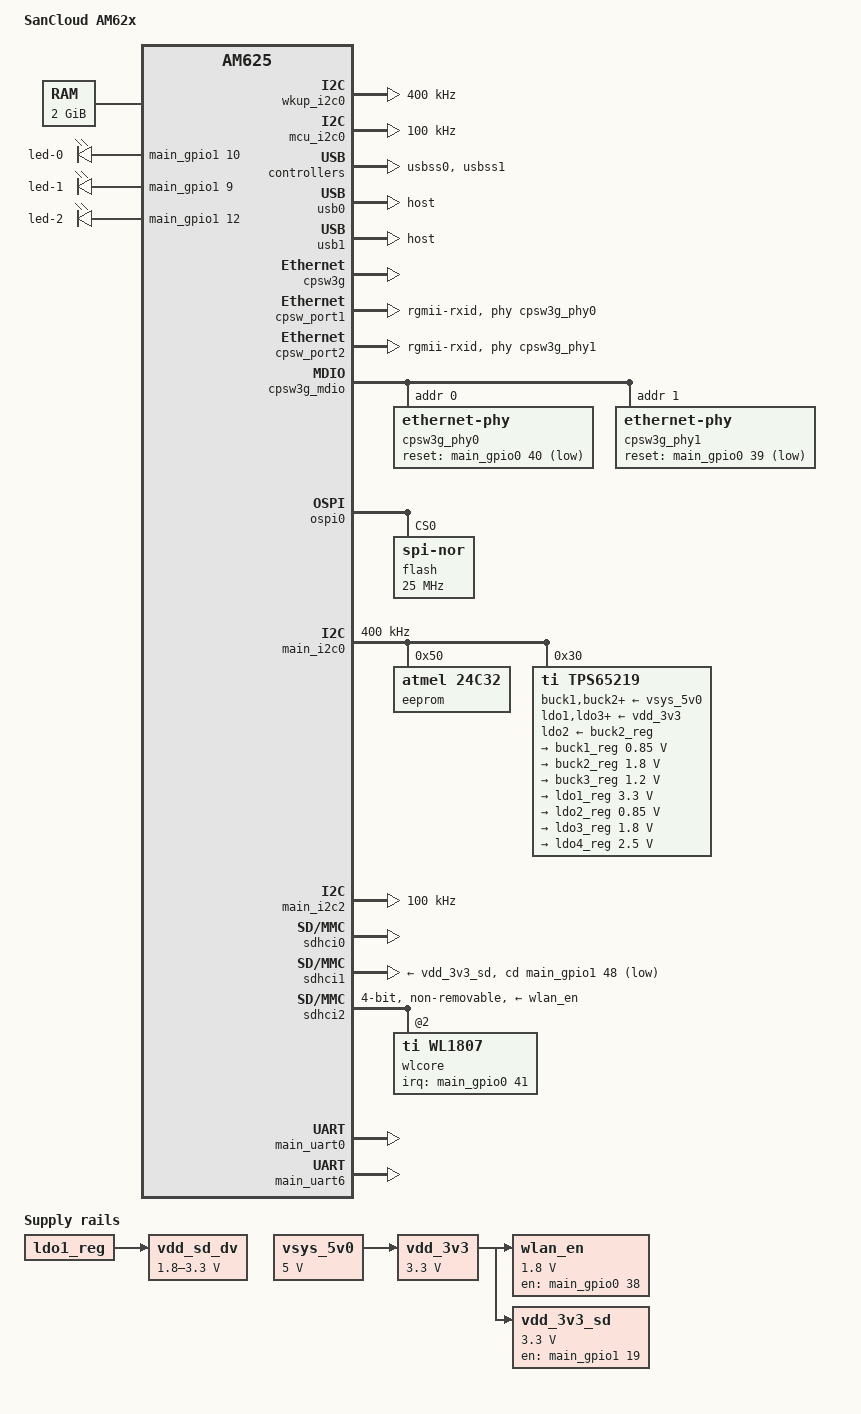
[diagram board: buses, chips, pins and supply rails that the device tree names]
// SPDX-License-Identifier: GPL-2.0
/*
 * https://sancloud.com/
 *
 * Copyright (C) 2022-2023 Texas Instruments Incorporated - https://www.ti.com/
 * Copyright (C) 2023-2024 Marc Murphy, SanCloud
 */

/dts-v1/;

#include <dt-bindings/leds/common.h>
#include <dt-bindings/gpio/gpio.h>
#include <dt-bindings/input/input.h>
#include <dt-bindings/net/ti-dp83867.h>
#include "k3-am625.dtsi"

/ {
	compatible =  "sancloud,am625", "ti,am625";
	model = "SanCloud AM62x";

	aliases {
		serial0 = &wkup_uart0;
		serial1 = &mcu_uart0;
		serial2 = &main_uart0;
		serial3 = &main_uart1;
		serial4 = &main_uart6;
		mmc0 = &sdhci0;
		mmc1 = &sdhci1;
		mmc2 = &sdhci2;
		usb0 = &usb0;
		usb1 = &usb1;
		i2c0 = &main_i2c0;
		i2c1 = &main_i2c1;
		i2c2 = &main_i2c2;
		i2c3 = &main_i2c3;
		i2c4 = &wkup_i2c0;
		i2c5 = &mcu_i2c0;
		//rtc0 = &rtc;
		ethernet0 = &cpsw_port1;
		ethernet1 = &cpsw_port2;
		//gpio0 = &main_gpio0;
		gpio1 = &main_gpio1;
		//gpio2 = &mcu_gpio2;
	};

	chosen {
		stdout-path = "serial2:115200n8";
	};

	memory@80000000 {
		device_type = "memory";
		/* 2G RAM */
		reg = <0x00000000 0x80000000 0x00000000 0x80000000>;
	};

	reserved-memory {
		#address-cells = <2>;
		#size-cells = <2>;
		ranges;

		rtos_ipc_memory_region: ipc-memories@9c800000 {
			compatible = "shared-dma-pool";
			reg = <0x00 0x9c800000 0x00 0x00300000>;
			no-map;
		};

		mcu_m4fss_dma_memory_region: m4f-dma-memory@9cb00000 {
			compatible = "shared-dma-pool";
			reg = <0x00 0x9cb00000 0x00 0x100000>;
			no-map;
		};

		mcu_m4fss_memory_region: m4f-memory@9cc00000 {
			compatible = "shared-dma-pool";
			reg = <0x00 0x9cc00000 0x00 0xd00000>;
			no-map;
		};

		wkup_r5fss0_core0_dma_memory_region: r5f-dma-memory@9d900000 {
			compatible = "shared-dma-pool";
			reg = <0x00 0x9d900000 0x00 0x00100000>;
			no-map;
		};

		wkup_r5fss0_core0_memory_region: r5f-memory@9da00000 {
			compatible = "shared-dma-pool";
			reg = <0x00 0x9da00000 0x00 0x00d00000>;
			no-map;
		};

		lpm_ctx_ddr: lpm-memory@9e700000 {
			reg = <0x00 0x9e700000 0x00 0x80000>;
			alignment = <0x1000>;
		};

		secure_tfa_ddr: tfa@9e780000 {
			reg = <0x00 0x9e780000 0x00 0x80000>;
			alignment = <0x1000>;
			no-map;
		};

		secure_ddr: optee@9e800000 {
			reg = <0x00 0x9e800000 0x00 0x01800000>; /* for OP-TEE */
			alignment = <0x1000>;
			no-map;
		};
	};

	vsys_5v0: regulator-1 {
		compatible = "regulator-fixed";
		regulator-name = "vsys_5v0";
		regulator-min-microvolt = <5000000>;
		regulator-max-microvolt = <5000000>;
		regulator-always-on;
		regulator-boot-on;
	};

	vdd_3v3: regulator-2 {
		/* output of TLV62595DMQR-U12 */
		compatible = "regulator-fixed";
		regulator-name = "vdd_3v3";
		regulator-min-microvolt = <3300000>;
		regulator-max-microvolt = <3300000>;
		vin-supply = <&vsys_5v0>;
		regulator-always-on;
		regulator-boot-on;
	};

	wlan_en: regulator-3 {
		/* OUTPUT of SN74AVC2T244DQMR */
		compatible = "regulator-fixed";
		regulator-name = "wlan_en";
		regulator-min-microvolt = <1800000>;
		regulator-max-microvolt = <1800000>;
		enable-active-high;
		regulator-always-on;
		vin-supply = <&vdd_3v3>;
		gpios = <&main_gpio0 38 GPIO_ACTIVE_HIGH>;
		pinctrl-names = "default";
		pinctrl-0 = <&wifi_en_pins_default>;
	};

	vdd_3v3_sd: regulator-4 {
		/* output of TPS22918DBVR-U21 */
		pinctrl-names = "default";
		pinctrl-0 = <&vdd_3v3_sd_pins_default>;

		compatible = "regulator-fixed";
		regulator-name = "vdd_3v3_sd";
		regulator-min-microvolt = <3300000>;
		regulator-max-microvolt = <3300000>;
		enable-active-high;
		regulator-always-on;
		vin-supply = <&vdd_3v3>;
		gpios = <&main_gpio1 19 GPIO_ACTIVE_HIGH>;
	};

	vdd_sd_dv: regulator-5 {
		compatible = "regulator-gpio";
		regulator-name = "sd_hs200_switch";
		pinctrl-names = "default";
		pinctrl-0 = <&vdd_sd_dv_pins_default>;
		regulator-min-microvolt = <1800000>;
		regulator-max-microvolt = <3300000>;
		regulator-boot-on;
		vin-supply = <&ldo1_reg>;
		gpios = <&main_gpio1 49 GPIO_ACTIVE_HIGH>;
		states = <1800000 0x0>,
			 <3300000 0x1>;
	};

	leds {
		compatible = "gpio-leds";

		led-0 {
			gpios = <&main_gpio1 10 GPIO_ACTIVE_HIGH>;
			linux,default-trigger = "heartbeat";
			function = LED_FUNCTION_HEARTBEAT;
			default-state = "off";
		};

		led-1 {
			gpios = <&main_gpio1 9 GPIO_ACTIVE_HIGH>;
			linux,default-trigger = "disk-activity";
			function = LED_FUNCTION_DISK_ACTIVITY;
			default-state = "keep";
		};

		led-2 {
			gpios = <&main_gpio1 12 GPIO_ACTIVE_HIGH>;
			function = LED_FUNCTION_CPU;
		};
	};

};

&main_pmx0 {


	gpio0_pins_default: gpio0-pins-default {
		pinctrl-single,pins = <
			AM62X_IOPAD(0x0004, PIN_INPUT, 7) /* (G25) OSPI0_LBCLKO.GPIO0_1 */
			AM62X_IOPAD(0x0008, PIN_INPUT, 7) /* (J24) OSPI0_DQS.GPIO0_2 */
			AM62X_IOPAD(0x000c, PIN_INPUT, 7) /* (E25) OSPI0_D0.GPIO0_3 */
			AM62X_IOPAD(0x0010, PIN_INPUT, 7) /* (G24) OSPI0_D1.GPIO0_4 */
			AM62X_IOPAD(0x0014, PIN_INPUT, 7) /* (F25) OSPI0_D2.GPIO0_5 */
			AM62X_IOPAD(0x0018, PIN_INPUT, 7) /* (F24) OSPI0_D3.GPIO0_6 */
			AM62X_IOPAD(0x0024, PIN_INPUT, 7) /* (H25) OSPI0_D6.GPIO0_9 */
			AM62X_IOPAD(0x0028, PIN_INPUT, 7) /* (J22) OSPI0_D7.GPIO0_10 */
			AM62X_IOPAD(0x002c, PIN_INPUT, 7) /* (F23) OSPI0_CSn0.GPIO0_11 */
			AM62X_IOPAD(0x0030, PIN_INPUT, 7) /* (G21) OSPI0_CSn1.GPIO0_12 */
			AM62X_IOPAD(0x0034, PIN_INPUT, 7) /* (H21) OSPI0_CSn2.GPIO0_13 */
			AM62X_IOPAD(0x0038, PIN_INPUT, 7) /* (E24) OSPI0_CSn3.GPIO0_14 */
			AM62X_IOPAD(0x00a4, PIN_INPUT, 7) /* (M22) GPMC0_DIR.GPIO0_40 */
			AM62X_IOPAD(0x00ac, PIN_INPUT, 7) /* (L21) GPMC0_CSn1.GPIO0_42 */
		>;
	};

	gpio1_pins_default: gpio1-pins-default {
		pinctrl-single,pins = <
			AM62X_IOPAD(0x1a0, PIN_OUTPUT_PULLDOWN, 7)	/* (E18) MCASP0_AXR0.GPIO1_10*/
			AM62X_IOPAD(0x19c, PIN_OUTPUT_PULLDOWN, 7)	/* (B18) MCASP0_AXR1.GPIO1_9*/
			AM62X_IOPAD(0x1a8, PIN_OUTPUT_PULLDOWN, 7)	/* (D20) MCASP0_AFSX.GPIO1_12*/
		>;
	};

	vdd_sd_dv_pins_default: vdd-sd-pins-default {
		pinctrl-single,pins = <
			AM62X_IOPAD(0x0244, PIN_OUTPUT, 7) /* (C17) MMC1_SDWP.GPIO1_49 */
		>;
	};

	local_i2c_pins_default: local-i2c-pins-default {
		pinctrl-single,pins = <
			AM62X_IOPAD(0x01e0, PIN_INPUT_PULLUP, 0) /* (B16) I2C0_SCL */
			AM62X_IOPAD(0x01e4, PIN_INPUT_PULLUP, 0) /* (A16) I2C0_SDA */
		>;
	};

	i2c2_1v8_pins_default: i2c2-pins-default {
		pinctrl-single,pins = <
			AM62X_IOPAD(0x00b0, PIN_INPUT_PULLUP, 1) /* (K22) GPMC0_CSn2.I2C2_SCL */
			AM62X_IOPAD(0x00b4, PIN_INPUT_PULLUP, 1) /* (K24) GPMC0_CSn3.I2C2_SDA */
		>;
	};

	mdio0_pins_default: mdio0-pins-default {
		pinctrl-single,pins = <
			AM62X_IOPAD(0x160, PIN_OUTPUT, 0) /* (AD24/V17) MDIO0_MDC */
			AM62X_IOPAD(0x15c, PIN_INPUT, 0) /* (AB22/U16) MDIO0_MDIO */
		>;
	};

	rgmii1_pins_default: rgmii1-pins-default {
		pinctrl-single,pins = <
			AM62X_IOPAD(0x014c, PIN_INPUT, 0) /* (AB17) RGMII1_RD0 */
			AM62X_IOPAD(0x0150, PIN_INPUT, 0) /* (AC17) RGMII1_RD1 */
			AM62X_IOPAD(0x0154, PIN_INPUT, 0) /* (AB16) RGMII1_RD2 */
			AM62X_IOPAD(0x0158, PIN_INPUT, 0) /* (AA15) RGMII1_RD3 */
			AM62X_IOPAD(0x0148, PIN_INPUT, 0) /* (AD17) RGMII1_RXC */
			AM62X_IOPAD(0x0144, PIN_INPUT, 0) /* (AE17) RGMII1_RX_CTL */
			AM62X_IOPAD(0x0134, PIN_OUTPUT, 0) /* (AE20) RGMII1_TD0 */
			AM62X_IOPAD(0x0138, PIN_OUTPUT, 0) /* (AD20) RGMII1_TD1 */
			AM62X_IOPAD(0x013c, PIN_OUTPUT, 0) /* (AE18) RGMII1_TD2 */
			AM62X_IOPAD(0x0140, PIN_OUTPUT, 0) /* (AD18) RGMII1_TD3 */
			AM62X_IOPAD(0x0130, PIN_OUTPUT, 0) /* (AE19) RGMII1_TXC */
			AM62X_IOPAD(0x012c, PIN_OUTPUT, 0) /* (AD19) RGMII1_TX_CTL */
		>;
	};

	rgmii2_pins_default: rgmii2-pins-default {
		pinctrl-single,pins = <
			AM62X_IOPAD(0x184, PIN_INPUT, 0) /* (AE23) RGMII2_RD0 */
			AM62X_IOPAD(0x188, PIN_INPUT, 0) /* (AB20) RGMII2_RD1 */
			AM62X_IOPAD(0x18c, PIN_INPUT, 0) /* (AC21) RGMII2_RD2 */
			AM62X_IOPAD(0x190, PIN_INPUT, 0) /* (AE22) RGMII2_RD3 */
			AM62X_IOPAD(0x180, PIN_INPUT, 0) /* (AD23) RGMII2_RXC */
			AM62X_IOPAD(0x17c, PIN_INPUT, 0) /* (AD22) RGMII2_RX_CTL */
			AM62X_IOPAD(0x16c, PIN_OUTPUT, 0) /* (Y18) RGMII2_TD0 */
			AM62X_IOPAD(0x170, PIN_OUTPUT, 0) /* (AA18) RGMII2_TD1 */
			AM62X_IOPAD(0x174, PIN_OUTPUT, 0) /* (AD21) RGMII2_TD2 */
			AM62X_IOPAD(0x178, PIN_OUTPUT, 0) /* (AC20) RGMII2_TD3 */
			AM62X_IOPAD(0x168, PIN_OUTPUT, 0) /* (AE21) RGMII2_TXC */
			AM62X_IOPAD(0x164, PIN_OUTPUT, 0) /* (AA19) RGMII2_TX_CTL */
		>;
	};

	ospi0_pins_default: ospi0-pins-default {
		pinctrl-single,pins = <
			AM62X_IOPAD(0x000, PIN_OUTPUT, 0) /* (H24) OSPI0_CLK */
			AM62X_IOPAD(0x02c, PIN_OUTPUT, 0) /* (F23) OSPI0_CSn0 */
			AM62X_IOPAD(0x00c, PIN_INPUT, 0) /* (E25) OSPI0_D0 */
			AM62X_IOPAD(0x010, PIN_INPUT, 0) /* (G24) OSPI0_D1 */
			AM62X_IOPAD(0x014, PIN_INPUT, 0) /* (F25) OSPI0_D2 */
			AM62X_IOPAD(0x018, PIN_INPUT, 0) /* (F24) OSPI0_D3 */
		>;
	};


	emmc_pins_default: emmc-pins-default {
		pinctrl-single,pins = <
			AM62X_IOPAD(0x0220, PIN_INPUT, 0) /* (Y3) MMC0_CMD */
			AM62X_IOPAD(0x0218, PIN_INPUT, 0) /* (AB1) MMC0_CLK */
			AM62X_IOPAD(0x0214, PIN_INPUT, 0) /* (AA2) MMC0_DAT0 */
			AM62X_IOPAD(0x0210, PIN_INPUT, 0) /* (AA1) MMC0_DAT1 */
			AM62X_IOPAD(0x020c, PIN_INPUT, 0) /* (AA3) MMC0_DAT2 */
			AM62X_IOPAD(0x0208, PIN_INPUT, 0) /* (Y4) MMC0_DAT3 */
			AM62X_IOPAD(0x0204, PIN_INPUT, 0) /* (AB2) MMC0_DAT4 */
			AM62X_IOPAD(0x0200, PIN_INPUT, 0) /* (AC1) MMC0_DAT5 */
			AM62X_IOPAD(0x01fc, PIN_INPUT, 0) /* (AD2) MMC0_DAT6 */
			AM62X_IOPAD(0x01f8, PIN_INPUT, 0) /* (AC2) MMC0_DAT7 */
		>;
	};

	vdd_3v3_sd_pins_default: vdd-3v3-sd-pins-default {
		pinctrl-single,pins = <
			AM62X_IOPAD(0x01c4, PIN_INPUT, 7) /* (B14) SPI0_D1_GPIO1_19 */
		>;
	};

	sd_pins_default: sd-pins-default {
		pinctrl-single,pins = <
			AM62X_IOPAD(0x023c, PIN_INPUT, 0) /* (A21) MMC1_CMD */
			AM62X_IOPAD(0x0234, PIN_INPUT, 0) /* (B22) MMC1_CLK */
			AM62X_IOPAD(0x0230, PIN_INPUT, 0) /* (A22) MMC1_DAT0 */
			AM62X_IOPAD(0x022c, PIN_INPUT, 0) /* (B21) MMC1_DAT1 */
			AM62X_IOPAD(0x0228, PIN_INPUT, 0) /* (C21) MMC1_DAT2 */
			AM62X_IOPAD(0x0224, PIN_INPUT, 0) /* (D22) MMC1_DAT3 */
			AM62X_IOPAD(0x0240, PIN_INPUT, 7) /* (D17) MMC1_SDCD.GPIO1_48 */
		>;
	};

	wifi_pins_default: wifi-pins-default {
		pinctrl-single,pins = <
			AM62X_IOPAD(0x0120, PIN_INPUT, 0) /* (C24) MMC2_CMD */
			AM62X_IOPAD(0x0118, PIN_INPUT, 0) /* (D25) MMC2_CLK */
			AM62X_IOPAD(0x0114, PIN_INPUT, 0) /* (B24) MMC2_DAT0 */
			AM62X_IOPAD(0x0110, PIN_INPUT, 0) /* (C25) MMC2_DAT1 */
			AM62X_IOPAD(0x010c, PIN_INPUT, 0) /* (E23) MMC2_DAT2 */
			AM62X_IOPAD(0x0108, PIN_INPUT, 0) /* (D24) MMC2_DAT3 */
			AM62X_IOPAD(0x0124, PIN_INPUT, 0) /* (A23) MMC2_SDCD */
			AM62X_IOPAD(0x11c, PIN_INPUT, 0) /* (#N/A) MMC2_CLKB */
		>;
	};

	wifi_en_pins_default: wifi-en-pins-default {
		pinctrl-single,pins = <
			AM62X_IOPAD(0x009c, PIN_OUTPUT, 7) /* (V25) GPMC0_WAIT1.GPIO0_38 */
		>;
	};

	wifi_wlirq_pins_default: wifi-wlirq-pins-default {
		pinctrl-single,pins = <
			AM62X_IOPAD(0x00a8, PIN_INPUT, 7) /* (M21) GPMC0_CSn0.GPIO0_41 */
		>;
	};

	console_pins_default: console-pins-default {
		pinctrl-single,pins = <
			AM62X_IOPAD(0x01c8, PIN_INPUT, 0) /* (D14) UART0_RXD */
			AM62X_IOPAD(0x01cc, PIN_OUTPUT, 0) /* (E14) UART0_TXD */
		>;
	};

	wifi_debug_uart_pins_default: wifi-debug-uart-pins-default {
		pinctrl-single,pins = <
			AM62X_IOPAD(0x001c, PIN_INPUT, 3) /* (J23) OSPI0_D4.UART6_RXD */
			AM62X_IOPAD(0x0020, PIN_OUTPUT, 3) /* (J25) OSPI0_D5.UART6_TXD */
		>;
	};

	usb0_pins_default: usb0-pins-default {
		pinctrl-single,pins = <
			AM62X_IOPAD(0x0254, PIN_INPUT, 0) /* (C20) USB0_DRVVBUS */
		>;
	};

	usb1_pins_default: usb1-pins-default {
		pinctrl-single,pins = <
			AM62X_IOPAD(0x0258, PIN_INPUT, 0) /* (F18) USB1_DRVVBUS */
		>;
	};

	pmic_irq_pins_default: pmic-irq-pins-default {
		pinctrl-single,pins = <
			AM62X_IOPAD(0x01f4, PIN_INPUT_PULLUP, 0) /* (D16) EXTINTn */
		>;
	};
};

&mcu_pmx0 {
	i2c_qwiic_pins_default: i2c-qwiic-pins-default {
		pinctrl-single,pins = <
			AM62X_MCU_IOPAD(0x0044, PIN_INPUT, 0) /* (A8) MCU_I2C0_SCL */
			AM62X_MCU_IOPAD(0x0048, PIN_INPUT, 0) /* (D10) MCU_I2C0_SDA */
		>;
	};

	i2c_csi_pins_default: i2c-csi-pins-default {
		pinctrl-single,pins = <
			AM62X_MCU_IOPAD(0x004c, PIN_INPUT_PULLUP, 0) /* (B9) WKUP_I2C0_SCL */
			AM62X_MCU_IOPAD(0x0050, PIN_INPUT_PULLUP, 0) /* (A9) WKUP_I2C0_SDA */
		>;
	};

	wifi_32k_clk: mcu-clk-out-pins-default {
		pinctrl-single,pins = <
			AM62X_MCU_IOPAD(0x0084, PIN_OUTPUT, 0) /* (A12) WKUP_CLKOUT0 */
		>;
	};
};

/* MISSING KERNEL SYNC */
#if 0
&a53_opp_table {
	/* Requires VDD_CORE to be at 0.85V */
	opp-1400000000 {
		opp-hz = /bits/ 64 <1400000000>;
		opp-supported-hw = <0x01 0x0004>;
	};
};
#endif

&wkup_i2c0 {
	pinctrl-names = "default";
	pinctrl-0 = <&i2c_csi_pins_default>;
	clock-frequency = <400000>;
	/* Enable with overlay for camera sensor */
};

&mcu_i2c0 {
	pinctrl-names = "default";
	pinctrl-0 = <&i2c_qwiic_pins_default>;
	clock-frequency = <100000>;
	status = "okay";
};

&usbss0 {
	ti,vbus-divider;
	status = "okay";
};

&usb0 {
	dr_mode = "host";
	pinctrl-names = "default";
	pinctrl-0 = <&usb0_pins_default>;
};

&usbss1 {
	ti,vbus-divider;
	status = "okay";
};

&usb1 {
	dr_mode = "host";
	pinctrl-names = "default";
	pinctrl-0 = <&usb1_pins_default>;
};

&cpsw3g {
	status = "okay";
	pinctrl-names = "default";
	pinctrl-0 = <&mdio0_pins_default>, <&rgmii1_pins_default>, <&rgmii2_pins_default>;
	assigned-clocks = <&k3_clks 157 70>, <&k3_clks 157 20>;
	assigned-clock-parents = <&k3_clks 157 72>, <&k3_clks 157 22>;
};

&cpsw_port1 {
	status = "okay";
	phy-mode = "rgmii-rxid";
	phy-handle = <&cpsw3g_phy0>;
};

&cpsw_port2 {
	status = "okay";
	phy-mode = "rgmii-rxid";
	phy-handle = <&cpsw3g_phy1>;
};

/* U-boot does'nt know about gpio bitbang for MDIO */
&cpsw3g_mdio {
	status = "okay";

	cpsw3g_phy0: ethernet-phy@0 {
		reg = <0>;
		reset-gpios = <&main_gpio0 40 GPIO_ACTIVE_LOW>;
		reset-assert-us = <25>;
		reset-deassert-us = <60000>; /* T2 */		
		ti,rx-internal-delay = <DP83867_RGMIIDCTL_2_00_NS>;
		ti,fifo-depth = <DP83867_PHYCR_FIFO_DEPTH_4_B_NIB>;
		ti,min-output-impedance;
	};

	cpsw3g_phy1: ethernet-phy@1 {
		reg = <1>;
		reset-gpios = <&main_gpio0 39 GPIO_ACTIVE_LOW>;
		reset-assert-us = <25>;
		reset-deassert-us = <60000>; /* T2 */		
		ti,rx-internal-delay = <DP83867_RGMIIDCTL_2_00_NS>;
		ti,fifo-depth = <DP83867_PHYCR_FIFO_DEPTH_4_B_NIB>;
		ti,min-output-impedance;
	};
};

&ospi0 {
	status = "okay";
	pinctrl-names = "default";
	pinctrl-0 = <&ospi0_pins_default>;

	flash@0{
		compatible = "jedec,spi-nor";
		reg = <0x0>;
		spi-tx-bus-width = <4>;
		spi-rx-bus-width = <4>;
		spi-max-frequency = <25000000>;
		cdns,tshsl-ns = <60>;
		cdns,tsd2d-ns = <60>;
		cdns,tchsh-ns = <60>;
		cdns,tslch-ns = <60>;
		cdns,read-delay = <4>;
		cdns,phy-mode;

		partitions {
			compatible = "fixed-partitions";
			#address-cells = <1>;
			#size-cells = <1>;
		};
	};
};

&main_gpio1 {
	pinctrl-names = "default";
	pinctrl-0 = <&gpio1_pins_default>;
	gpio-line-names = "", "", "", "", "", "", "", "",	/* 0-7 */
		"", "USR1", "USR0", "", "USR2", "", "",			/* 8-14 */
		"", "", "", "", "", "", "",		/* 15-21 */
		"", "",	/* 22-23 */
		"", "",	/* 24-25 */
		"", "", "", "", "", "", "", "", "", "", "", "",	/* 26-37 */
		"", "", "", "", "", "", "", "", "", "",		/* 38-47 */
		"", "", "", "";			/* 48-51 */
};

&main_i2c0 {
	pinctrl-names = "default";
	pinctrl-0 = <&local_i2c_pins_default>;
	clock-frequency = <400000>;
	status = "okay";

	eeprom@50 {
		compatible = "atmel,24c32";
		reg = <0x50>;
	};

	tps65219: pmic@30 {
		compatible = "ti,tps65219";
		reg = <0x30>;
		buck1-supply = <&vsys_5v0>;
		buck2-supply = <&vsys_5v0>;
		buck3-supply = <&vsys_5v0>;
		ldo1-supply = <&vdd_3v3>;
		ldo2-supply = <&buck2_reg>;
		ldo3-supply = <&vdd_3v3>;
		ldo4-supply = <&vdd_3v3>;

		pinctrl-names = "default";
		pinctrl-0 = <&pmic_irq_pins_default>;
		interrupt-parent = <&gic500>;
		interrupts = <GIC_SPI 224 IRQ_TYPE_LEVEL_HIGH>;
		interrupt-controller;
		#interrupt-cells = <1>;

		system-power-controller;
		ti,power-button;

		regulators {
			buck1_reg: buck1 {
				regulator-name = "VDD_CORE";
				regulator-min-microvolt = <850000>;
				regulator-max-microvolt = <850000>;
				regulator-boot-on;
				regulator-always-on;
			};

			buck2_reg: buck2 {
				regulator-name = "VDD_1V8";
				regulator-min-microvolt = <1800000>;
				regulator-max-microvolt = <1800000>;
				regulator-boot-on;
				regulator-always-on;
			};

			buck3_reg: buck3 {
				regulator-name = "VDD_1V2";
				regulator-min-microvolt = <1200000>;
				regulator-max-microvolt = <1200000>;
				regulator-boot-on;
				regulator-always-on;
			};

			ldo1_reg: ldo1 {
				/*
				 * Regulator is left as is unused, vdd_sd
				 * is controlled via GPIO with bypass config
				 * as per the NVM configuration
				 */
				regulator-name = "VDD_SD_3V3";
				regulator-min-microvolt = <3300000>;
				regulator-max-microvolt = <3300000>;
				regulator-allow-bypass;
				regulator-boot-on;
				regulator-always-on;
			};

			ldo2_reg: ldo2 {
				regulator-name = "VDDA_0V85";
				regulator-min-microvolt = <850000>;
				regulator-max-microvolt = <850000>;
				regulator-boot-on;
				regulator-always-on;
			};

			ldo3_reg: ldo3 {
				regulator-name = "VDDA_1V8";
				regulator-min-microvolt = <1800000>;
				regulator-max-microvolt = <1800000>;
				regulator-boot-on;
				regulator-always-on;
			};

			ldo4_reg: ldo4 {
				regulator-name = "VDD_2V5";
				regulator-min-microvolt = <2500000>;
				regulator-max-microvolt = <2500000>;
				regulator-boot-on;
				regulator-always-on;
			};
		};
	};
};

&main_i2c2 {
	pinctrl-names = "default";
	pinctrl-0 = <&i2c2_1v8_pins_default>;
	clock-frequency = <100000>;
	status = "okay";
};


&sdhci0 {
	pinctrl-names = "default";
	pinctrl-0 = <&emmc_pins_default>;
	ti,driver-strength-ohm = <50>;
	disable-wp;
	status = "okay";
};

&sdhci1 {
	/* SD/MMC */
	pinctrl-names = "default";
	pinctrl-0 = <&sd_pins_default>;

	vmmc-supply = <&vdd_3v3_sd>;
	vqmmc-supply = <&vdd_sd_dv>;
	ti,driver-strength-ohm = <50>;
	disable-wp;
	cd-gpios = <&main_gpio1 48 GPIO_ACTIVE_LOW>;
	cd-debounce-delay-ms = <100>;
	ti,fails-without-test-cd;
	status = "okay";
};

&sdhci2 {
	vmmc-supply = <&wlan_en>;
	pinctrl-names = "default";
	pinctrl-0 = <&wifi_pins_default>, <&wifi_32k_clk>;
	bus-width = <4>;
	non-removable;
	ti,fails-without-test-cd;
	cap-power-off-card;
	keep-power-in-suspend;
	ti,driver-strength-ohm = <50>;
	assigned-clocks = <&k3_clks 157 158>;
	assigned-clock-parents = <&k3_clks 157 160>;
	#address-cells = <1>;
	#size-cells = <0>;
	status = "okay";

	wlcore: wlcore@2 {
		compatible = "ti,wl1807";
		reg = <2>;
		pinctrl-names = "default";
		pinctrl-0 = <&wifi_wlirq_pins_default>;
		interrupt-parent = <&main_gpio0>;
		interrupts = <41 IRQ_TYPE_EDGE_FALLING>;
	};
};

&main_uart0 {
	pinctrl-names = "default";
	pinctrl-0 = <&console_pins_default>;
	status = "okay";
};

&main_uart1 {
	/* Main UART1 is used by TIFS firmware */
	status = "reserved";
};


&main_uart6 {
	pinctrl-names = "default";
	pinctrl-0 = <&wifi_debug_uart_pins_default>;
	status = "okay";
};
